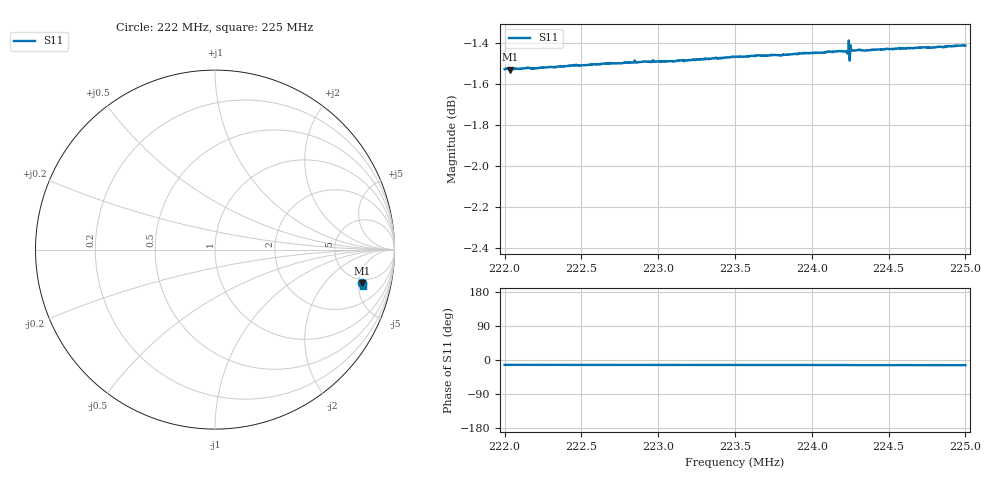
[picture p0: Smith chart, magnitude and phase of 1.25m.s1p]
! Calibrated averaged scanner-service zoom
# Hz S RI R 50
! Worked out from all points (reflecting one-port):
!   1001 points, 222 MHz to 225 MHz, reference 50 ohm
!   lowest |S11| = -1.5 dB at 222.04 MHz (marker M1), VSWR 11.38, Z = 220 - j274 ohm
!   phase of S11 starts at -13 deg and turns -1 deg over the sweep
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2.22e8  0.8179 -0.1855
2.22036e8  0.8177 -0.1854
2.22375e8  0.8189 -0.1866
2.22648e8  0.8201 -0.1874
2.2275e8  0.8201 -0.188
2.22909e8  0.8208 -0.1888
2.23125e8  0.8211 -0.1894
2.235e8  0.8225 -0.1916
2.23647e8  0.823 -0.1925
2.23794e8  0.8227 -0.1932
2.23875e8  0.8232 -0.1934
2.24082e8  0.8239 -0.1943
2.24172e8  0.8243 -0.195
2.24217e8  0.8241 -0.1954
2.2422e8  0.824 -0.1953
2.24226e8  0.8242 -0.1954
2.24232e8  0.8234 -0.1943
2.2425e8  0.8245 -0.1958
2.24262e8  0.8245 -0.1959
2.24268e8  0.8245 -0.1958
2.24313e8  0.8249 -0.1964
2.24346e8  0.8245 -0.1961
2.24403e8  0.8247 -0.197
2.24625e8  0.8251 -0.198
2.24685e8  0.8252 -0.1983
2.24718e8  0.8252 -0.1991
2.24781e8  0.8249 -0.1995
2.25e8  0.8257 -0.2009
